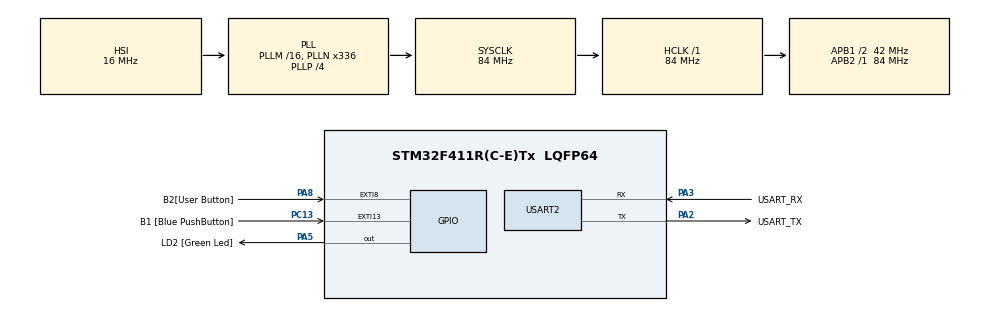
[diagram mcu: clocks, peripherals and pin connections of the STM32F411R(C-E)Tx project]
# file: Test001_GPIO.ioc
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Mcu.Family=STM32F4
Mcu.Name=STM32F411R(C-E)Tx
Mcu.Package=LQFP64
NVIC.EXTI15_10_IRQn=true\:0\:0\:false\:false\:true\:true\:true\:true
NVIC.EXTI9_5_IRQn=true\:0\:0\:false\:false\:true\:true\:true\:true
NVIC.PriorityGroup=NVIC_PRIORITYGROUP_0
PA13.GPIO_Label=TMS
PA13.Mode=Serial_Wire
PA13.Signal=SYS_JTMS-SWDIO
PA14.GPIO_Label=TCK
PA14.Mode=Serial_Wire
PA14.Signal=SYS_JTCK-SWCLK
PA2.GPIO_Label=USART_TX
PA2.Mode=Asynchronous
PA2.Signal=USART2_TX
PA3.GPIO_Label=USART_RX
PA3.Mode=Asynchronous
PA3.Signal=USART2_RX
PA5.GPIO_Label=LD2 [Green Led]
PA5.Signal=GPIO_Output
PA8.GPIO_Label=B2[User Button]
PA8.Signal=GPXTI8
PB3.GPIO_Label=SWO
PB3.Signal=SYS_JTDO-SWO
PC13-ANTI_TAMP.GPIO_Label=B1 [Blue PushButton]
PC13-ANTI_TAMP.GPIO_ModeDefaultEXTI=GPIO_MODE_IT_FALLING
PC13-ANTI_TAMP.Signal=GPXTI13
PC14-OSC32_IN.Mode=LSE-External-Oscillator
PC14-OSC32_IN.Signal=RCC_OSC32_IN
PC15-OSC32_OUT.Mode=LSE-External-Oscillator
PC15-OSC32_OUT.Signal=RCC_OSC32_OUT
PH0\ -\ OSC_IN.Mode=HSE-External-Clock-Source
PH0\ -\ OSC_IN.Signal=RCC_OSC_IN
PH1\ -\ OSC_OUT.Mode=HSE-External-Clock-Source
PH1\ -\ OSC_OUT.Signal=RCC_OSC_OUT
ProjectManager.HeapSize=0x200
ProjectManager.StackSize=0x400
ProjectManager.TargetToolchain=STM32CubeIDE
RCC.48MHZClocksFreq_Value=84000000
RCC.AHBFreq_Value=84000000
RCC.APB1CLKDivider=RCC_HCLK_DIV2
RCC.APB1Freq_Value=42000000
RCC.APB1TimFreq_Value=84000000
RCC.APB2Freq_Value=84000000
RCC.APB2TimFreq_Value=84000000
RCC.CortexFreq_Value=84000000
RCC.FLatency-AdvancedSettings=FLASH_LATENCY_2
RCC.HCLKFreq_Value=84000000
RCC.HSE_VALUE=8000000
RCC.HSI_VALUE=16000000
RCC.PLLN=336
RCC.PLLP=RCC_PLLP_DIV4
RCC.SYSCLKFreq_VALUE=84000000
RCC.SYSCLKSource=RCC_SYSCLKSOURCE_PLLCLK
RCC.VCOOutputFreq_Value=336000000
USART2.VirtualMode=VM_ASYNC
board=NUCLEO-F411RE

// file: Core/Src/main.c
/* USER CODE BEGIN Header */
/**
  ******************************************************************************
  * @file           : main.c
  * @brief          : Main program body
  ******************************************************************************
  * @attention
  *
  * Copyright (c) 2024 STMicroelectronics.
  * All rights reserved.
  *
  * This software is licensed under terms that can be found in the LICENSE file
  * in the root directory of this software component.
  * If no LICENSE file comes with this software, it is provided AS-IS.
  *
  ******************************************************************************
  */
/* USER CODE END Header */
#include "main.h"

/* USER CODE BEGIN Includes */
#include <stdio.h>
/* USER CODE END Includes */

UART_HandleTypeDef huart2;

/* USER CODE BEGIN PV */
int __io_putchar(int ch) // 1문자 단위로 포트로 출력
{
	HAL_UART_Transmit(&huart2, &ch, 1, 10);
	return ch;
}
//int __io_getchar(void) //___ 가 많은 경우 system function, output console : monitor , input console : keybord

/* USER CODE END PV */

void SystemClock_Config(void);
static void MX_GPIO_Init(void);
static void MX_USART2_UART_Init(void);

/* USER CODE BEGIN 0 */
int mode = 0;
int cnt = 0;
void HAL_GPIO_EXTI_Callback(uint16_t GPIO_Pin) // EXTI8 (B2) : ISR
{
	switch(GPIO_Pin)
	{
	case GPIO_PIN_13:
		mode ++;
		if(mode > 1 ) mode = 0;
		break;
	case GPIO_PIN_8:
		printf("%d times pressed\r\n", cnt++);
		break;
	}
	/* if(GPIO_Pin == GPIO_PIN_8 | GPIO_Pin == GPIO_PIN_13)
	{
	mode ++;
	if(mode > 1 ) mode = 0;
	} */
}
/* USER CODE END 0 */

int main(void)
{

  /* MCU Configuration--------------------------------------------------------*/

  /* Reset of all peripherals, Initializes the Flash interface and the Systick. */
  HAL_Init();

  /* Configure the system clock */
  SystemClock_Config();

  /* Initialize all configured peripherals */
  MX_GPIO_Init();
  MX_USART2_UART_Init();
  /* USER CODE BEGIN 2 */
  printf("\033[2J\n");	// 2J : clear screen 화면 초기화
  printf("\033[1;1H\n");	// y;xH : (x,y) 위치로 커서 이동 Teraterm
  /* USER CODE END 2 */

  /* Infinite loop */
  /* USER CODE BEGIN WHILE */
  while (1)
  {	  // int a= HAL_GPIO_ReadPin(GPIOC, GPIO_PIN_13); // PC13
  	  if(mode == 1)
  	  {
	  HAL_GPIO_WritePin(LD2_GPIO_Port, LD2_Pin, 1);	// PA5
	  HAL_Delay(500);	// 500ms
	  HAL_GPIO_WritePin(LD2_GPIO_Port, LD2_Pin, 0);
	  HAL_Delay(500);	// 500ms
  	  }
    /* USER CODE END WHILE */

  }
}

void SystemClock_Config(void)
{
  RCC_OscInitTypeDef RCC_OscInitStruct = {0};
  RCC_ClkInitTypeDef RCC_ClkInitStruct = {0};

  /** Configure the main internal regulator output voltage
  */
  __HAL_RCC_PWR_CLK_ENABLE();
  __HAL_PWR_VOLTAGESCALING_CONFIG(PWR_REGULATOR_VOLTAGE_SCALE1);

  /** Initializes the RCC Oscillators according to the specified parameters
  * in the RCC_OscInitTypeDef structure.
  */
  RCC_OscInitStruct.OscillatorType = RCC_OSCILLATORTYPE_HSI;
  RCC_OscInitStruct.HSIState = RCC_HSI_ON;
  RCC_OscInitStruct.HSICalibrationValue = RCC_HSICALIBRATION_DEFAULT;
  RCC_OscInitStruct.PLL.PLLState = RCC_PLL_ON;
  RCC_OscInitStruct.PLL.PLLSource = RCC_PLLSOURCE_HSI;
  RCC_OscInitStruct.PLL.PLLM = 16;
  RCC_OscInitStruct.PLL.PLLN = 336;
  RCC_OscInitStruct.PLL.PLLP = RCC_PLLP_DIV4;
  RCC_OscInitStruct.PLL.PLLQ = 4;
  if (HAL_RCC_OscConfig(&RCC_OscInitStruct) != HAL_OK)
  {
    Error_Handler();
  }

  /** Initializes the CPU, AHB and APB buses clocks
  */
  RCC_ClkInitStruct.ClockType = RCC_CLOCKTYPE_HCLK|RCC_CLOCKTYPE_SYSCLK
                              |RCC_CLOCKTYPE_PCLK1|RCC_CLOCKTYPE_PCLK2;
  RCC_ClkInitStruct.SYSCLKSource = RCC_SYSCLKSOURCE_PLLCLK;
  RCC_ClkInitStruct.AHBCLKDivider = RCC_SYSCLK_DIV1;
  RCC_ClkInitStruct.APB1CLKDivider = RCC_HCLK_DIV2;
  RCC_ClkInitStruct.APB2CLKDivider = RCC_HCLK_DIV1;

  if (HAL_RCC_ClockConfig(&RCC_ClkInitStruct, FLASH_LATENCY_2) != HAL_OK)
  {
    Error_Handler();
  }
}

static void MX_USART2_UART_Init(void)
{

  huart2.Instance = USART2;
  huart2.Init.BaudRate = 115200;
  huart2.Init.WordLength = UART_WORDLENGTH_8B;
  huart2.Init.StopBits = UART_STOPBITS_1;
  huart2.Init.Parity = UART_PARITY_NONE;
  huart2.Init.Mode = UART_MODE_TX_RX;
  huart2.Init.HwFlowCtl = UART_HWCONTROL_NONE;
  huart2.Init.OverSampling = UART_OVERSAMPLING_16;
  if (HAL_UART_Init(&huart2) != HAL_OK)
  {
    Error_Handler();
  }

}

static void MX_GPIO_Init(void)
{
  GPIO_InitTypeDef GPIO_InitStruct = {0};

  /* GPIO Ports Clock Enable */
  __HAL_RCC_GPIOC_CLK_ENABLE();
  __HAL_RCC_GPIOH_CLK_ENABLE();
  __HAL_RCC_GPIOA_CLK_ENABLE();
  __HAL_RCC_GPIOB_CLK_ENABLE();

  /*Configure GPIO pin Output Level */
  HAL_GPIO_WritePin(LD2_GPIO_Port, LD2_Pin, GPIO_PIN_RESET);

  /*Configure GPIO pin : B1_Pin */
  GPIO_InitStruct.Pin = B1_Pin;
  GPIO_InitStruct.Mode = GPIO_MODE_IT_FALLING;
  GPIO_InitStruct.Pull = GPIO_NOPULL;
  HAL_GPIO_Init(B1_GPIO_Port, &GPIO_InitStruct);

  /*Configure GPIO pin : LD2_Pin */
  GPIO_InitStruct.Pin = LD2_Pin;
  GPIO_InitStruct.Mode = GPIO_MODE_OUTPUT_PP;
  GPIO_InitStruct.Pull = GPIO_NOPULL;
  GPIO_InitStruct.Speed = GPIO_SPEED_FREQ_LOW;
  HAL_GPIO_Init(LD2_GPIO_Port, &GPIO_InitStruct);

  /*Configure GPIO pin : B2_Pin */
  GPIO_InitStruct.Pin = B2_Pin;
  GPIO_InitStruct.Mode = GPIO_MODE_IT_RISING;
  GPIO_InitStruct.Pull = GPIO_NOPULL;
  HAL_GPIO_Init(B2_GPIO_Port, &GPIO_InitStruct);

  /* EXTI interrupt init*/
  HAL_NVIC_SetPriority(EXTI9_5_IRQn, 0, 0);
  HAL_NVIC_EnableIRQ(EXTI9_5_IRQn);

  HAL_NVIC_SetPriority(EXTI15_10_IRQn, 0, 0);
  HAL_NVIC_EnableIRQ(EXTI15_10_IRQn);

}

void Error_Handler(void)
{
  __disable_irq();
  while (1)
  {
  }
}
